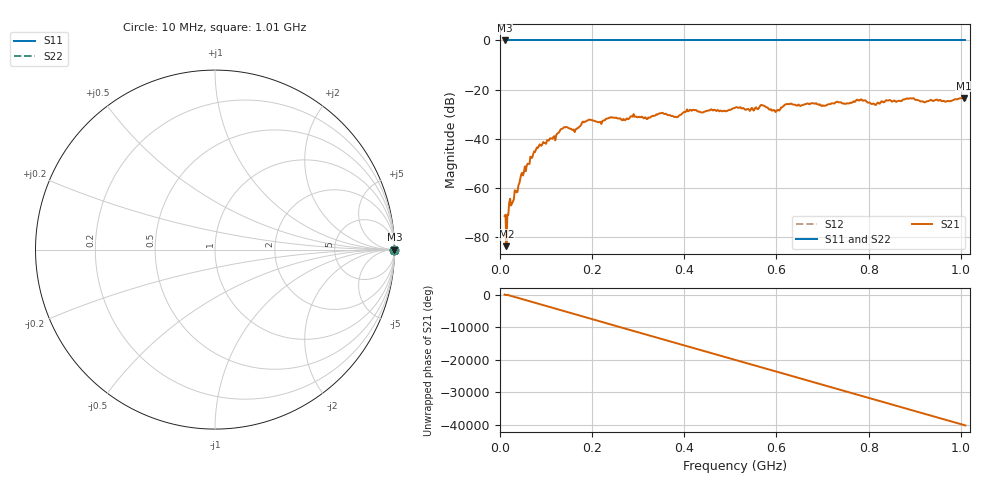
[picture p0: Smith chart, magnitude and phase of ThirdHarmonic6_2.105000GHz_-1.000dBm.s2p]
! 8/17/2025 1:10:59 AM
! C:\ANRITSUVNA\TEMP\TEMP.S2P
! CHANNEL.1
! TR.MEASUREMENT
! RAW.DATA
! RF.CORRECTION.OFF
! AVERAGING.OFF
! IF.BANDWIDTH: 5KHZ
! SWEEPTYPE:  FREQ.SWEEP(Linear)
! Reference Plane Port Info
! PORT:  PORT1  PORT2
! DISTANCE:  0  m  0  m
! TIME:  0  s  0  s
! PHASE.OFFSET:  0  deg.  0  deg.
! LOSS:  0  dB  0  dB
! REF.LOSS:  0  dB  0  dB
! REF.FREQ:  0  Hz  0  Hz
! Power Info
! POWER:  -20  dBm  -20  dBm
! EFF.POWER:  -20  dBm  -20  dBm
! SOURCE.ATTEN:  0  dB  0  dB
! TEST.ATTEN:  0  dB  0  dB
# GHZ S RI R 50.0
! FREQ.GHZ  S11RE  S11IM  S21RE  S21IM  S12RE  S12IM  S22RE  S22IM
!; PortSelection: Port_12
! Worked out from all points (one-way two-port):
!   501 points, 10 MHz to 1.01 GHz, reference 50 ohm
!   highest |S21| = -23.39 dB at 1.006 GHz (marker M1); lowest = -83.6 dB at 14 MHz (marker M2)
!   lowest |S11| = 0.0 dB at 10 MHz (marker M3)
!   |S11| at or under -10 dB: nowhere
!   |S22| runs from 0.0 to 0.0 dB; largest |S21 - S12| = 1.1
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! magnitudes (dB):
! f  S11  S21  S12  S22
! 10 MHz  0.0  -71.3  0.0  0.0
! 14 MHz  0.0  -83.6  0.0  0.0
! 20 MHz  0.0  -66.0  0.0  0.0
! 50 MHz  0.0  -54.9  0.0  0.0
! 82 MHz  0.0  -43.7  0.0  0.0
! 136 MHz  0.0  -35.8  0.0  0.0
! 162 MHz  0.0  -37.3  0.0  0.0
! 178 MHz  0.0  -33.4  0.0  0.0
! 344 MHz  0.0  -29.9  0.0  0.0
! 382 MHz  0.0  -31.0  0.0  0.0
! 410 MHz  0.0  -28.7  0.0  0.0
! 510 MHz  0.0  -27.4  0.0  0.0
! 546 MHz  0.0  -27.4  0.0  0.0
! 570 MHz  0.0  -26.4  0.0  0.0
! 602 MHz  0.0  -28.2  0.0  0.0
! 622 MHz  0.0  -25.8  0.0  0.0
! 678 MHz  0.0  -25.5  0.0  0.0
! 780 MHz  0.0  -24.4  0.0  0.0
! 812 MHz  0.0  -25.8  0.0  0.0
! 844 MHz  0.0  -24.3  0.0  0.0
! 1.006 GHz  0.0  -23.4  0.0  0.0
! 1.01 GHz  0.0  -24.1  0.0  0.0
